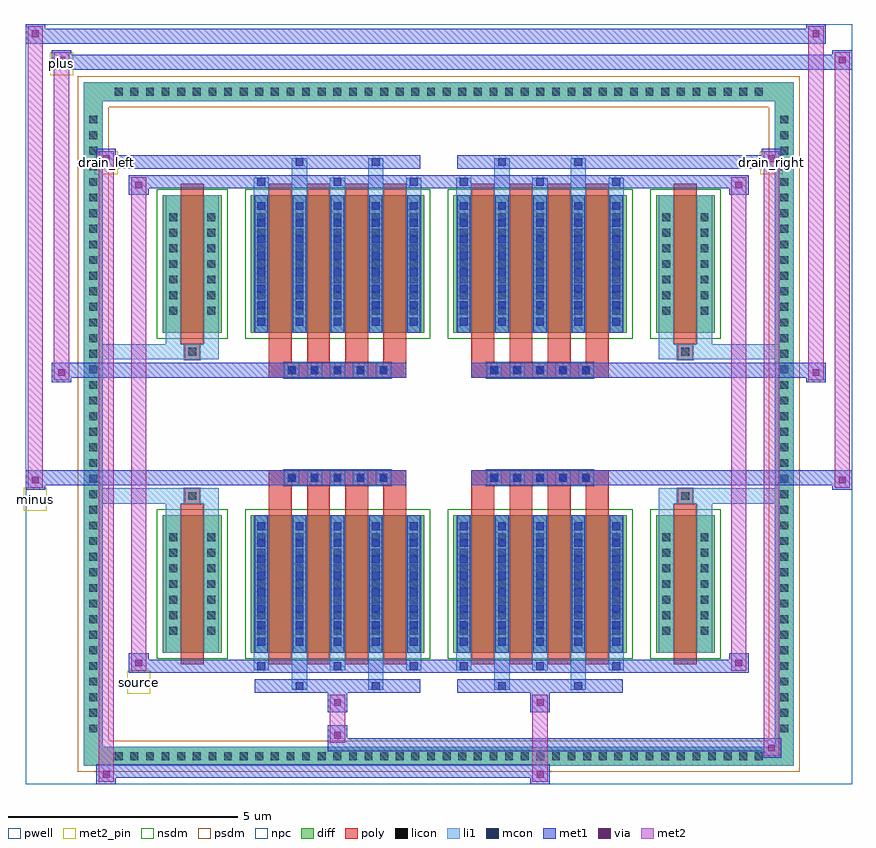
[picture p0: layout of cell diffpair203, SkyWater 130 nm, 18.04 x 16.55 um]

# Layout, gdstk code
import gdstk
lib = gdstk.Library(unit=1e-6, precision=5e-09)
def R(c, l, rs):  # rectangles x0, y0, x1, y1
    for r in rs: c.add(gdstk.rectangle(r[:2], r[2:], *l))
def A(c, l, x, y, w, h, nx, ny, dx, dy):  # array of equal rectangles
    R(c, l, [(x+i*dx, y+j*dy, x+i*dx+w, y+j*dy+h) for i in range(nx) for j in range(ny)])
def P(c, l, *ps):  # polygons
    for p in ps: c.add(gdstk.Polygon(p, *l))
pwell = (64, 44)
diff = (65, 20)
poly = (66, 20)
licon = (66, 44)
li1 = (67, 20)
mcon = (67, 44)
met1 = (68, 20)
via = (68, 44)
met2_pin = (69, 16)
met2 = (69, 20)
nsdm = (93, 44)
psdm = (94, 20)
npc = (95, 20)

diffpair203 = lib.new_cell('diffpair203')
R(diffpair203, pwell, [(-9,-7.84,9,8.71), (-6.32,-6.03,-0.01,-0.805), (0.01,-6.03,6.32,-0.805), (-6.32,0.805,-0.01,6.03), (0.01,0.805,6.32,6.03)])
A(diffpair203, diff, -7.175, -7.44, 0.41, 0.41, 42, 2, 0.34, 14.47)
A(diffpair203, diff, -7.73, -6.835, 0.41, 0.41, 1, 40, 0, 0.34)
A(diffpair203, diff, 7.32, -6.835, 0.41, 0.41, 1, 40, 0, 0.34)
R(diffpair203, diff, [(-7.175,-7.44,7.175,-7.03), (-7.73,-6.835,-7.32,6.835), (7.32,-6.835,7.73,6.835), (-6.01,-4.985,-4.73,-1.985), (-4.09,-4.985,-0.32,-1.985), (0.32,-4.985,4.09,-1.985), (4.73,-4.985,6.01,-1.985), (-6.01,1.985,-4.73,4.985), (-4.09,1.985,-0.32,4.985), (0.32,1.985,4.09,4.985), (4.73,1.985,6.01,4.985), (-7.175,7.03,7.175,7.44)])
P(diffpair203, diff, [(7.73,7.44),(-7.73,7.44),(-7.73,-7.03),(-7.32,-7.03),(-7.32,7.03),(7.32,7.03),(7.32,-7.03),(-7.32,-7.03),(-7.73,-7.03),(-7.73,-7.44),(7.73,-7.44)])
A(diffpair203, poly, -3.7, -5.235, 0.5, 3.5, 4, 2, 0.83, 6.97)
A(diffpair203, poly, 0.71, -5.235, 0.5, 3.5, 4, 2, 0.83, 6.97)
A(diffpair203, poly, -3.7, -1.735, 0.5, 0.4, 4, 2, 0.83, 3.07)
A(diffpair203, poly, 0.71, -1.735, 0.5, 0.4, 4, 2, 0.83, 3.07)
A(diffpair203, poly, -3.37, -1.335, 0.33, 0.33, 5, 2, 0.5, 2.34)
A(diffpair203, poly, 1.04, -1.335, 0.33, 0.33, 5, 2, 0.5, 2.34)
R(diffpair203, poly, [(-5.62,-5.235,-5.12,-1.735), (5.12,-5.235,5.62,-1.735), (-5.535,-1.735,-5.205,-1.405), (-5.535,-1.735,-5.205,-1.405), (5.205,-1.735,5.535,-1.405), (5.205,-1.735,5.535,-1.405), (-3.7,-1.335,-0.71,-1.005), (0.71,-1.335,3.7,-1.005), (-3.7,1.005,-0.71,1.335), (0.71,1.005,3.7,1.335), (-5.535,1.405,-5.205,1.735), (-5.535,1.405,-5.205,1.735), (5.205,1.405,5.535,1.735), (5.205,1.405,5.535,1.735), (-5.62,1.735,-5.12,5.235), (5.12,1.735,5.62,5.235)])
A(diffpair203, licon, -7.055, -7.32, 0.17, 0.17, 42, 2, 0.34, 14.47)
A(diffpair203, licon, -7.61, -6.715, 0.17, 0.17, 1, 40, 0, 0.34)
A(diffpair203, licon, 7.44, -6.715, 0.17, 0.17, 1, 40, 0, 0.34)
A(diffpair203, licon, -5.87, -4.59, 0.17, 0.17, 1, 7, 0, 0.34)
A(diffpair203, licon, -5.04, -4.59, 0.17, 0.17, 1, 7, 0, 0.34)
A(diffpair203, licon, -3.95, -4.59, 0.17, 0.17, 5, 7, 0.83, 0.34)
A(diffpair203, licon, 0.46, -4.59, 0.17, 0.17, 5, 7, 0.83, 0.34)
A(diffpair203, licon, 4.87, -4.59, 0.17, 0.17, 1, 7, 0, 0.34)
A(diffpair203, licon, 5.7, -4.59, 0.17, 0.17, 1, 7, 0, 0.34)
A(diffpair203, licon, -3.29, -1.255, 0.17, 0.17, 5, 2, 0.5, 2.34)
A(diffpair203, licon, 1.12, -1.255, 0.17, 0.17, 5, 2, 0.5, 2.34)
A(diffpair203, licon, -5.87, 2.38, 0.17, 0.17, 1, 7, 0, 0.34)
A(diffpair203, licon, -5.04, 2.38, 0.17, 0.17, 1, 7, 0, 0.34)
A(diffpair203, licon, -3.95, 2.38, 0.17, 0.17, 5, 7, 0.83, 0.34)
A(diffpair203, licon, 0.46, 2.38, 0.17, 0.17, 5, 7, 0.83, 0.34)
A(diffpair203, licon, 4.87, 2.38, 0.17, 0.17, 1, 7, 0, 0.34)
A(diffpair203, licon, 5.7, 2.38, 0.17, 0.17, 1, 7, 0, 0.34)
R(diffpair203, licon, [(-5.455,-1.655,-5.285,-1.485), (5.285,-1.655,5.455,-1.485), (-5.455,1.485,-5.285,1.655), (5.285,1.485,5.455,1.655)])
A(diffpair203, li1, -7.135, -7.4, 0.33, 0.33, 42, 2, 0.34, 14.47)
A(diffpair203, li1, -7.69, -6.795, 0.33, 0.33, 1, 40, 0, 0.34)
A(diffpair203, li1, 7.36, -6.795, 0.33, 0.33, 1, 40, 0, 0.34)
A(diffpair203, li1, -4.03, -5.36, 0.33, 0.375, 3, 2, 1.66, 10.345)
A(diffpair203, li1, -3.95, -5.36, 0.17, 0.17, 3, 2, 1.66, 10.55)
A(diffpair203, li1, 0.38, -5.36, 0.33, 0.375, 3, 2, 1.66, 10.345)
A(diffpair203, li1, 0.46, -5.36, 0.17, 0.17, 3, 2, 1.66, 10.55)
A(diffpair203, li1, -4.03, -4.985, 0.33, 3, 5, 2, 0.83, 6.97)
A(diffpair203, li1, 0.38, -4.985, 0.33, 3, 5, 2, 0.83, 6.97)
A(diffpair203, li1, -3.95, -4.83, 0.17, 0.17, 5, 8, 0.83, 0.36)
A(diffpair203, li1, -3.95, -4.83, 0.17, 2.69, 5, 2, 0.83, 6.97)
A(diffpair203, li1, 0.46, -4.83, 0.17, 0.17, 5, 8, 0.83, 0.36)
A(diffpair203, li1, 0.46, -4.83, 0.17, 2.69, 5, 2, 0.83, 6.97)
A(diffpair203, li1, -5.95, -4.67, 0.33, 0.33, 1, 7, 0, 0.34)
A(diffpair203, li1, -5.12, -4.67, 0.33, 0.33, 1, 7, 0, 0.34)
A(diffpair203, li1, -4.03, -4.67, 0.33, 0.33, 5, 7, 0.83, 0.34)
A(diffpair203, li1, 0.38, -4.67, 0.33, 0.33, 5, 7, 0.83, 0.34)
A(diffpair203, li1, 4.79, -4.67, 0.33, 0.33, 1, 7, 0, 0.34)
A(diffpair203, li1, 5.62, -4.67, 0.33, 0.33, 1, 7, 0, 0.34)
A(diffpair203, li1, -3.37, -1.335, 0.33, 0.33, 5, 2, 0.5, 2.34)
A(diffpair203, li1, 1.04, -1.335, 0.33, 0.33, 5, 2, 0.5, 2.34)
A(diffpair203, li1, -3.95, 2.14, 0.17, 0.17, 5, 8, 0.83, 0.36)
A(diffpair203, li1, 0.46, 2.14, 0.17, 0.17, 5, 8, 0.83, 0.36)
A(diffpair203, li1, -5.95, 2.3, 0.33, 0.33, 1, 7, 0, 0.34)
A(diffpair203, li1, -5.12, 2.3, 0.33, 0.33, 1, 7, 0, 0.34)
A(diffpair203, li1, -4.03, 2.3, 0.33, 0.33, 5, 7, 0.83, 0.34)
A(diffpair203, li1, 0.38, 2.3, 0.33, 0.33, 5, 7, 0.83, 0.34)
A(diffpair203, li1, 4.79, 2.3, 0.33, 0.33, 1, 7, 0, 0.34)
A(diffpair203, li1, 5.62, 2.3, 0.33, 0.33, 1, 7, 0, 0.34)
R(diffpair203, li1, [(-7.73,-7.44,-7.32,-7.03), (-7.73,-7.44,-7.32,-7.03), (-7.32,-7.44,7.32,-7.03), (7.32,-7.44,7.73,-7.03), (7.32,-7.44,7.73,-7.03), (-7.73,-7.03,-7.32,7.03), (7.32,-7.03,7.73,7.03), (-3.2,-5.79,-2.87,-4.985), (-3.12,-5.79,-2.95,-5.62), (-1.54,-5.79,-1.21,-4.985), (-1.46,-5.79,-1.29,-5.62), (1.21,-5.79,1.54,-4.985), (1.29,-5.79,1.46,-5.62), (2.87,-5.79,3.2,-4.985), (2.95,-5.79,3.12,-5.62), (-5.95,-4.985,-5.62,-1.985), (-5.12,-4.985,-4.79,-1.985), (4.79,-4.985,5.12,-1.985), (5.62,-4.985,5.95,-1.985), (-5.95,-1.985,-5.62,-1.405), (-5.12,-1.985,-4.79,-1.405), (4.79,-1.985,5.12,-1.405), (5.62,-1.985,5.95,-1.405), (-7.73,-1.735,-5.535,-1.405), (-5.95,-1.735,-5.535,-1.405), (-5.535,-1.735,-5.205,-1.405), (-5.205,-1.735,-4.79,-1.405), (4.79,-1.735,5.205,-1.405), (5.205,-1.735,5.535,-1.405), (5.205,-1.735,7.73,-1.405), (5.535,-1.735,5.95,-1.405), (-7.73,1.405,-5.535,1.735), (-5.95,1.405,-5.535,1.735), (-5.95,1.405,-5.62,1.985), (-5.535,1.405,-5.205,1.735), (-5.205,1.405,-4.79,1.735), (-5.12,1.405,-4.79,1.985), (4.79,1.405,5.205,1.735), (4.79,1.405,5.12,1.985), (5.205,1.405,5.535,1.735), (5.205,1.405,7.73,1.735), (5.535,1.405,5.95,1.735), (5.62,1.405,5.95,1.985), (-5.95,1.985,-5.62,4.985), (-5.12,1.985,-4.79,4.985), (4.79,1.985,5.12,4.985), (5.62,1.985,5.95,4.985), (-3.2,4.985,-2.87,5.79), (-1.54,4.985,-1.21,5.79), (1.21,4.985,1.54,5.79), (2.87,4.985,3.2,5.79), (-3.12,5.62,-2.95,5.79), (-1.46,5.62,-1.29,5.79), (1.29,5.62,1.46,5.79), (2.95,5.62,3.12,5.79), (-7.73,7.03,-7.32,7.44), (-7.73,7.03,-7.32,7.44), (-7.32,7.03,7.32,7.44), (7.32,7.03,7.73,7.44), (7.32,7.03,7.73,7.44)])
A(diffpair203, mcon, -3.95, -5.36, 0.17, 0.17, 3, 2, 1.66, 10.55)
A(diffpair203, mcon, 0.46, -5.36, 0.17, 0.17, 3, 2, 1.66, 10.55)
A(diffpair203, mcon, -3.95, -4.83, 0.17, 0.17, 5, 8, 0.83, 0.36)
A(diffpair203, mcon, 0.46, -4.83, 0.17, 0.17, 5, 8, 0.83, 0.36)
A(diffpair203, mcon, -3.29, -1.255, 0.17, 0.17, 5, 2, 0.5, 2.34)
A(diffpair203, mcon, 1.12, -1.255, 0.17, 0.17, 5, 2, 0.5, 2.34)
A(diffpair203, mcon, -3.95, 2.14, 0.17, 0.17, 5, 8, 0.83, 0.36)
A(diffpair203, mcon, 0.46, 2.14, 0.17, 0.17, 5, 8, 0.83, 0.36)
R(diffpair203, mcon, [(-3.12,-5.79,-2.95,-5.62), (-1.46,-5.79,-1.29,-5.62), (1.29,-5.79,1.46,-5.62), (2.95,-5.79,3.12,-5.62), (-3.12,5.62,-2.95,5.79), (-1.46,5.62,-1.29,5.79), (1.29,5.62,1.46,5.79), (2.95,5.62,3.12,5.79)])
A(diffpair203, met1, -4.01, -5.42, 0.29, 0.29, 3, 2, 1.66, 10.55)
A(diffpair203, met1, 0.4, -5.42, 0.29, 0.29, 3, 2, 1.66, 10.55)
A(diffpair203, met1, -4.01, -4.985, 0.29, 3, 5, 2, 0.83, 6.97)
A(diffpair203, met1, 0.4, -4.985, 0.29, 3, 5, 2, 0.83, 6.97)
A(diffpair203, met1, -4.01, -4.89, 0.29, 0.29, 5, 8, 0.83, 0.36)
A(diffpair203, met1, 0.4, -4.89, 0.29, 0.29, 5, 8, 0.83, 0.36)
A(diffpair203, met1, -3.35, -1.315, 0.29, 0.29, 5, 2, 0.5, 2.34)
A(diffpair203, met1, 1.06, -1.315, 0.29, 0.29, 5, 2, 0.5, 2.34)
A(diffpair203, met1, -4.01, 2.08, 0.29, 0.29, 5, 8, 0.83, 0.36)
A(diffpair203, met1, 0.4, 2.08, 0.29, 0.29, 5, 8, 0.83, 0.36)
R(diffpair203, met1, [(-7.46,-7.84,-7.03,-7.41), (1.99,-7.84,2.42,-7.41), (-7.46,-7.7,2.42,-7.41), (7.03,-7.27,7.46,-6.84), (-2.42,-7.13,7.46,-6.84), (-2.42,-6.99,-1.99,-6.56), (-2.42,-6.28,-1.99,-5.85), (1.99,-6.28,2.42,-5.85), (-4.01,-5.85,-0.4,-5.56), (-3.18,-5.85,-2.89,-5.56), (-1.52,-5.85,-1.23,-5.56), (0.4,-5.85,4.01,-5.56), (1.23,-5.85,1.52,-5.56), (2.89,-5.85,3.18,-5.56), (-6.75,-5.42,-6.32,-4.99), (-6.75,-5.42,-4.01,-5.13), (-4.01,-5.42,-0.4,-5.13), (-0.4,-5.42,0.4,-5.13), (0.4,-5.42,4.01,-5.13), (4.01,-5.42,6.75,-5.13), (6.32,-5.42,6.75,-4.99), (-9,-1.435,-8.57,-1.005), (8.57,-1.435,9,-1.005), (-9,-1.335,-0.71,-1.005), (-3.7,-1.335,-0.71,-1.005), (0.71,-1.335,3.7,-1.005), (0.71,-1.335,9,-1.005), (-8.43,0.905,-8,1.335), (8,0.905,8.43,1.335), (-8.43,1.005,-3.7,1.335), (-3.7,1.005,-0.71,1.335), (0.71,1.005,3.7,1.335), (3.7,1.005,8.43,1.335), (-6.75,4.99,-6.32,5.42), (6.32,4.99,6.75,5.42), (-6.75,5.13,-4.01,5.42), (-4.01,5.13,-0.4,5.42), (-0.4,5.13,0.4,5.42), (0.4,5.13,4.01,5.42), (4.01,5.13,6.75,5.42), (-7.46,5.56,-7.03,5.99), (-7.46,5.56,-4.01,5.85), (-4.01,5.56,-0.4,5.85), (-3.18,5.56,-2.89,5.85), (-1.52,5.56,-1.23,5.85), (0.4,5.56,4.01,5.85), (1.23,5.56,1.52,5.85), (2.89,5.56,3.18,5.85), (4.01,5.56,7.46,5.85), (7.03,5.56,7.46,5.99), (-8.43,7.71,-8,8.14), (-8.43,7.71,-6.32,8.04), (-6.32,7.71,6.32,8.04), (6.32,7.71,9,8.04), (8.57,7.71,9,8.14), (-9,8.28,-8.57,8.71), (-9,8.28,-6.32,8.61), (-6.32,8.28,6.32,8.61), (6.32,8.28,8.43,8.61), (8,8.28,8.43,8.71)])
R(diffpair203, via, [(-7.32,-7.7,-7.17,-7.55), (2.13,-7.7,2.28,-7.55), (7.17,-7.13,7.32,-6.98), (-2.28,-6.85,-2.13,-6.7), (-2.28,-6.14,-2.13,-5.99), (2.13,-6.14,2.28,-5.99), (-6.61,-5.28,-6.46,-5.13), (6.46,-5.28,6.61,-5.13), (-8.86,-1.295,-8.71,-1.145), (8.71,-1.295,8.86,-1.145), (-8.29,1.045,-8.14,1.195), (8.14,1.045,8.29,1.195), (-6.61,5.13,-6.46,5.28), (6.46,5.13,6.61,5.28), (-7.32,5.7,-7.17,5.85), (7.17,5.7,7.32,5.85), (-8.29,7.85,-8.14,8), (8.71,7.85,8.86,8), (-8.86,8.42,-8.71,8.57), (8.14,8.42,8.29,8.57)])
R(diffpair203, met2_pin, [(-6.785,-5.87,-6.285,-5.37), (-9.035,-1.885,-8.535,-1.385), (-7.495,5.44,-6.995,5.94), (6.995,5.44,7.495,5.94), (-8.465,7.59,-7.965,8.09)])
R(diffpair203, met2, [(-7.41,-7.79,-7.08,-7.46), (-7.41,-7.79,-7.08,5.94), (2.04,-7.79,2.37,-7.46), (2.04,-7.46,2.37,-6.23), (7.08,-7.22,7.41,-6.89), (7.08,-7.22,7.41,5.94), (-2.37,-6.94,-2.04,-6.61), (-2.37,-6.61,-2.04,-6.23), (-2.37,-6.23,-2.04,-5.9), (2.04,-6.23,2.37,-5.9), (-6.7,-5.37,-6.37,-5.04), (-6.7,-5.37,-6.37,5.37), (6.37,-5.37,6.7,-5.04), (6.37,-5.37,6.7,5.37), (-8.95,-1.385,-8.62,-1.055), (-8.95,-1.385,-8.62,8.66), (8.62,-1.385,8.95,-1.055), (8.62,-1.385,8.95,8.09), (-8.38,0.955,-8.05,1.285), (-8.38,0.955,-8.05,8.09), (8.05,0.955,8.38,1.285), (8.05,0.955,8.38,8.66), (-6.7,5.04,-6.37,5.37), (6.37,5.04,6.7,5.37), (-7.41,5.61,-7.08,5.94), (7.08,5.61,7.41,5.94), (-8.38,7.76,-8.05,8.09), (8.62,7.76,8.95,8.09), (-8.95,8.33,-8.62,8.66), (8.05,8.33,8.38,8.66)])
P(diffpair203, met2, [(8.95,-1.385),(8.95,-1.385),(8.95,-1.055),(8.95,-1.055)],
  [(8.95,7.76),(8.95,7.76),(8.95,8.09),(8.95,8.09)],
  [(-8.62,-1.385),(-8.62,-1.385),(-8.62,-1.055),(-8.62,-1.055)],
  [(-8.62,8.33),(-8.62,8.33),(-8.62,8.66),(-8.62,8.66)],
  [(8.38,0.955),(8.38,0.955),(8.38,1.285),(8.38,1.285)],
  [(8.38,8.33),(8.38,8.33),(8.38,8.66),(8.38,8.66)],
  [(-8.05,0.955),(-8.05,0.955),(-8.05,1.285),(-8.05,1.285)],
  [(-8.05,7.76),(-8.05,7.76),(-8.05,8.09),(-8.05,8.09)],
  [(-7.08,-7.79),(-7.08,-7.79),(-7.08,-7.46),(-7.08,-7.46)],
  [(-7.08,5.61),(-7.08,5.61),(-7.08,5.94),(-7.08,5.94)],
  [(7.41,-7.22),(7.41,-7.22),(7.41,-6.89),(7.41,-6.89)],
  [(7.41,5.61),(7.41,5.61),(7.41,5.94),(7.41,5.94)],
  [(-6.37,-5.37),(-6.37,-5.37),(-6.37,-5.04),(-6.37,-5.04)],
  [(-6.37,5.04),(-6.37,5.04),(-6.37,5.37),(-6.37,5.37)],
  [(6.7,-5.37),(6.7,-5.37),(6.7,-5.04),(6.7,-5.04)],
  [(6.7,5.04),(6.7,5.04),(6.7,5.37),(6.7,5.37)])
R(diffpair203, nsdm, [(-6.14,-5.115,-4.6,-1.855), (-4.22,-5.115,-0.19,-1.855), (0.19,-5.115,4.22,-1.855), (4.6,-5.115,6.14,-1.855), (-6.14,1.855,-4.6,5.115), (-4.22,1.855,-0.19,5.115), (0.19,1.855,4.22,5.115), (4.6,1.855,6.14,5.115)])
P(diffpair203, psdm, [(7.86,7.57),(-7.86,7.57),(-7.86,-6.9),(-7.19,-6.9),(-7.19,6.9),(7.19,6.9),(7.19,-6.9),(-7.19,-6.9),(-7.86,-6.9),(-7.86,-7.57),(7.86,-7.57)])
A(diffpair203, npc, -3.39, -1.355, 0.37, 0.37, 5, 2, 0.5, 2.34)
A(diffpair203, npc, 1.02, -1.355, 0.37, 0.37, 5, 2, 0.5, 2.34)
R(diffpair203, npc, [(-5.555,-1.755,-5.185,-1.385), (5.185,-1.755,5.555,-1.385), (-3.39,-1.355,-2.52,-0.985), (-3.39,-1.355,-2.52,-0.985), (-2.89,-1.355,-2.02,-0.985), (-2.89,-1.355,-2.02,-0.985), (-2.39,-1.355,-1.52,-0.985), (-2.39,-1.355,-1.52,-0.985), (-1.89,-1.355,-1.02,-0.985), (-1.89,-1.355,-1.02,-0.985), (1.02,-1.355,1.89,-0.985), (1.02,-1.355,1.89,-0.985), (1.52,-1.355,2.39,-0.985), (1.52,-1.355,2.39,-0.985), (2.02,-1.355,2.89,-0.985), (2.02,-1.355,2.89,-0.985), (2.52,-1.355,3.39,-0.985), (2.52,-1.355,3.39,-0.985), (-3.39,0.985,-2.52,1.355), (-3.39,0.985,-2.52,1.355), (-2.89,0.985,-2.02,1.355), (-2.89,0.985,-2.02,1.355), (-2.39,0.985,-1.52,1.355), (-2.39,0.985,-1.52,1.355), (-1.89,0.985,-1.02,1.355), (-1.89,0.985,-1.02,1.355), (1.02,0.985,1.89,1.355), (1.02,0.985,1.89,1.355), (1.52,0.985,2.39,1.355), (1.52,0.985,2.39,1.355), (2.02,0.985,2.89,1.355), (2.02,0.985,2.89,1.355), (2.52,0.985,3.39,1.355), (2.52,0.985,3.39,1.355), (-5.555,1.385,-5.185,1.755), (5.185,1.385,5.555,1.755)])
diffpair203.add(gdstk.Label('minus', (-8.785,-1.635), layer=69, texttype=5))
diffpair203.add(gdstk.Label('drain_right', (7.245,5.69), layer=69, texttype=5))
diffpair203.add(gdstk.Label('drain_left', (-7.245,5.69), layer=69, texttype=5))
diffpair203.add(gdstk.Label('source', (-6.535,-5.62), layer=69, texttype=5))
diffpair203.add(gdstk.Label('plus', (-8.215,7.84), layer=69, texttype=5))

lib.write_gds('diffpair203.gds')
